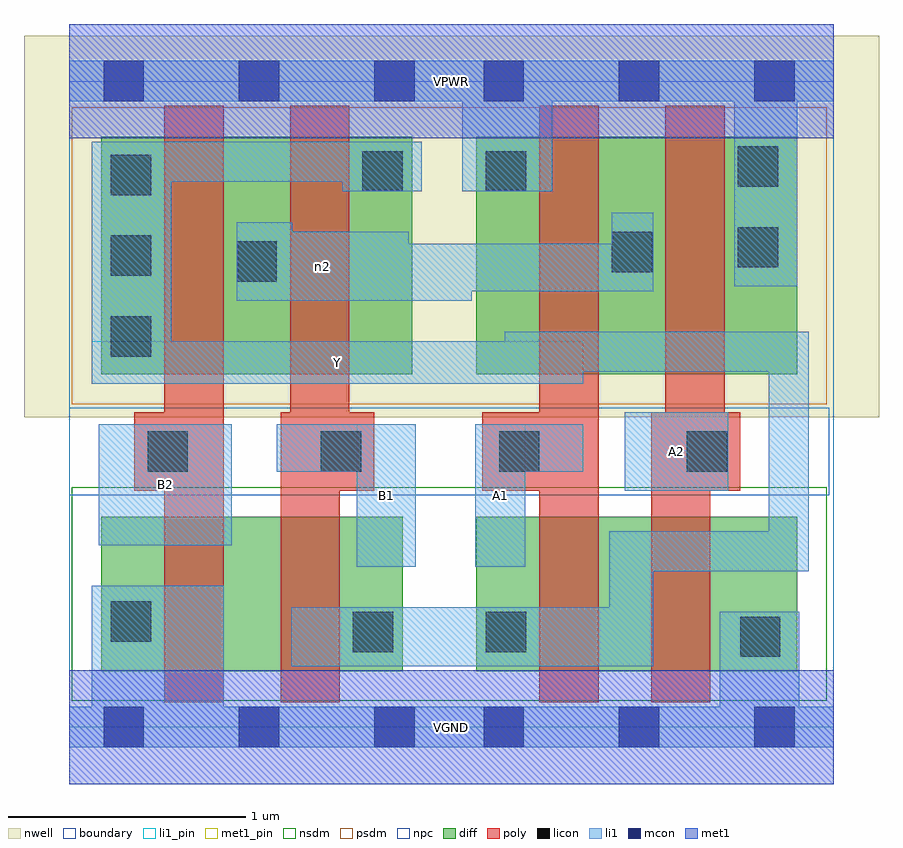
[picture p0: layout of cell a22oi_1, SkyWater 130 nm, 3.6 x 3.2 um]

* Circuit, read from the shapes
.subckt a22oi_1 A1 A2 B1 B2 VGND VPWR Y n2
XM1 n1 B2 VGND VSUBS sky130_fd_pr__nfet_01v8 w=0.65 l=0.25
XM2 Y B1 n1 VSUBS sky130_fd_pr__nfet_01v8 w=0.65 l=0.25
XM3 n3 A1 Y VSUBS sky130_fd_pr__nfet_01v8 w=0.65 l=0.25
XM4 VGND A2 n3 VSUBS sky130_fd_pr__nfet_01v8 w=0.65 l=0.25
XM5 n2 B2 Y n4 sky130_fd_pr__pfet_01v8 w=1 l=0.25
XM6 Y B1 n2 n4 sky130_fd_pr__pfet_01v8 w=1 l=0.25
XM7 n2 A1 VPWR n4 sky130_fd_pr__pfet_01v8 w=1 l=0.25
XM8 VPWR A2 n2 n4 sky130_fd_pr__pfet_01v8 w=1 l=0.25
.ends

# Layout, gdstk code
import gdstk
lib = gdstk.Library(unit=1e-6, precision=1e-09)
def R(c, l, rs):  # rectangles x0, y0, x1, y1
    for r in rs: c.add(gdstk.rectangle(r[:2], r[2:], *l))
def A(c, l, x, y, w, h, nx, ny, dx, dy):  # array of equal rectangles
    R(c, l, [(x+i*dx, y+j*dy, x+i*dx+w, y+j*dy+h) for i in range(nx) for j in range(ny)])
nwell = (64, 20)
diff = (65, 20)
poly = (66, 20)
licon = (66, 44)
li1_pin = (67, 16)
li1 = (67, 20)
mcon = (67, 44)
met1_pin = (68, 16)
met1 = (68, 20)
nsdm = (93, 44)
psdm = (94, 20)
npc = (95, 20)
boundary = (235, 4)

a22oi_1 = lib.new_cell('a22oi_1')
R(a22oi_1, nwell, [(-0.19,1.305,3.41,2.91), (0,1.305,3.22,2.91)])
R(a22oi_1, diff, [(0.135,0.235,1.405,0.885), (1.715,0.235,3.065,0.885), (0.135,1.485,1.445,2.485), (1.715,1.485,3.065,2.485)])
R(a22oi_1, poly, [(0.4,0.105,0.65,2.615), (0.89,0.105,1.14,1.325), (1.98,0.105,2.23,2.615), (2.45,0.105,2.7,1.325), (0.275,0.995,0.65,1.325), (0.89,0.995,1.285,1.325), (0.93,0.995,1.18,2.615), (1.74,0.995,2.23,1.325), (2.45,0.995,2.825,1.325), (2.51,0.995,2.76,2.615)])
A(a22oi_1, licon, 0.175, 1.56, 0.17, 0.17, 1, 3, 0, 0.34)
R(a22oi_1, licon, [(2.825,0.295,2.995,0.465), (1.195,0.315,1.365,0.485), (1.755,0.315,1.925,0.485), (0.175,0.36,0.345,0.53), (0.33,1.075,0.5,1.245), (1.06,1.075,1.23,1.245), (1.81,1.075,1.98,1.245), (2.6,1.075,2.77,1.245), (0.705,1.875,0.875,2.045), (2.285,1.915,2.455,2.085), (2.815,1.935,2.985,2.105), (1.235,2.255,1.405,2.425), (1.755,2.255,1.925,2.425), (2.815,2.275,2.985,2.445)])
R(a22oi_1, li1_pin, [(1.21,0.675,1.46,1.275), (1.71,0.675,1.92,1.275), (0.125,0.765,0.685,1.275), (2.34,0.995,2.775,1.325), (0.095,1.445,2.165,1.625)])
R(a22oi_1, li1, [(0,-0.085,3.22,0.085), (0.095,-0.085,0.65,0.595), (2.74,-0.085,3.075,0.485), (0.935,0.255,2.46,0.505), (2.275,0.255,2.46,0.825), (2.275,0.655,3.115,0.825), (2.945,0.655,3.115,1.665), (1.21,0.675,1.46,1.275), (1.71,0.675,1.92,1.275), (0.125,0.765,0.685,1.275), (2.34,0.995,2.775,1.325), (0.875,1.075,1.46,1.275), (1.71,1.075,2.165,1.275), (0.095,1.445,0.43,2.465), (0.095,1.445,2.165,1.625), (1.835,1.495,3.115,1.665), (0.705,1.795,1.43,2.085), (0.705,1.795,1.695,2.035), (0.705,1.795,0.94,2.125), (0.705,1.835,2.46,2.035), (2.285,1.835,2.46,2.165), (2.8,1.855,3.065,2.805), (1.15,2.255,1.485,2.465), (1.655,2.255,2.035,2.805), (0.095,2.295,1.485,2.465), (0,2.635,3.22,2.805)])
A(a22oi_1, mcon, 0.145, -0.085, 0.17, 0.17, 3, 2, 0.57, 2.72)
A(a22oi_1, mcon, 1.745, -0.085, 0.17, 0.17, 3, 2, 0.57, 2.72)
R(a22oi_1, met1_pin, [(0,-0.24,3.22,0.24), (0,2.48,3.22,2.96)])
R(a22oi_1, met1, [(0,-0.24,3.22,0.24), (0,2.48,3.22,2.96)])
R(a22oi_1, nsdm, [(0.01,0.11,3.19,1.01)])
R(a22oi_1, psdm, [(0.01,1.36,3.19,2.61)])
R(a22oi_1, npc, [(0,0.975,3.2,1.345)])
R(a22oi_1, boundary, [(0,0,3.22,2.72)])
a22oi_1.add(gdstk.Label('A1', (1.815,0.975), layer=67, texttype=5))
a22oi_1.add(gdstk.Label('A2', (2.557,1.16), layer=67, texttype=5))
a22oi_1.add(gdstk.Label('B1', (1.335,0.975), layer=67, texttype=5))
a22oi_1.add(gdstk.Label('B2', (0.405,1.02), layer=67, texttype=5))
a22oi_1.add(gdstk.Label('Y', (1.13,1.535), layer=67, texttype=5))
a22oi_1.add(gdstk.Label('n2', (1.067,1.94), layer=67, texttype=5))
a22oi_1.add(gdstk.Label('VPWR', (1.61,2.72), layer=68, texttype=5))
a22oi_1.add(gdstk.Label('VGND', (1.61,0), layer=68, texttype=5))
a22oi_1.add(gdstk.Label('A1', (1.815,0.975), layer=67, texttype=16))
a22oi_1.add(gdstk.Label('A2', (2.557,1.16), layer=67, texttype=16))
a22oi_1.add(gdstk.Label('B1', (1.335,0.975), layer=67, texttype=16))
a22oi_1.add(gdstk.Label('B2', (0.405,1.02), layer=67, texttype=16))
a22oi_1.add(gdstk.Label('Y', (1.13,1.535), layer=67, texttype=16))
a22oi_1.add(gdstk.Label('VPWR', (1.61,2.72), layer=68, texttype=16))
a22oi_1.add(gdstk.Label('VGND', (1.61,0), layer=68, texttype=16))

lib.write_gds('a22oi_1.gds')
